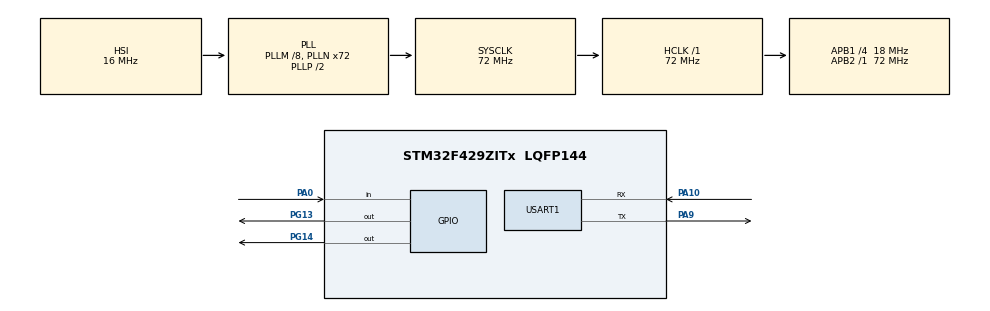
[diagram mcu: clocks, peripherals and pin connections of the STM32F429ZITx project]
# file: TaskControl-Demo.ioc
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FREERTOS.Tasks01=defaultTask,24,128,StartDefaultTask,Default,NULL,Dynamic,NULL,NULL
Mcu.Family=STM32F4
Mcu.Name=STM32F429ZITx
Mcu.Package=LQFP144
NVIC.PriorityGroup=NVIC_PRIORITYGROUP_4
PA0/WKUP.GPIO_PuPd=GPIO_PULLDOWN
PA0/WKUP.Signal=GPIO_Input
PA10.Mode=Asynchronous
PA10.Signal=USART1_RX
PA9.Mode=Asynchronous
PA9.Signal=USART1_TX
PG13.Signal=GPIO_Output
PG14.Signal=GPIO_Output
ProjectManager.HeapSize=0x200
ProjectManager.StackSize=0x400
ProjectManager.TargetToolchain=STM32CubeIDE
RCC.48MHZClocksFreq_Value=48000000
RCC.AHBFreq_Value=72000000
RCC.APB1CLKDivider=RCC_HCLK_DIV4
RCC.APB1Freq_Value=18000000
RCC.APB1TimFreq_Value=36000000
RCC.APB2Freq_Value=72000000
RCC.APB2TimFreq_Value=72000000
RCC.CortexFreq_Value=72000000
RCC.HCLKFreq_Value=72000000
RCC.HSE_VALUE=8000000
RCC.HSI_VALUE=16000000
RCC.LSE_VALUE=32768
RCC.PLLM=8
RCC.PLLN=72
RCC.PLLQ=3
RCC.PLLSAIN=50
RCC.SYSCLKFreq_VALUE=72000000
RCC.SYSCLKSource=RCC_SYSCLKSOURCE_PLLCLK
RCC.VCOOutputFreq_Value=144000000
USART1.VirtualMode=VM_ASYNC
VP_FREERTOS_VS_CMSIS_V2.Mode=CMSIS_V2
board=STM32F429I-DISC1

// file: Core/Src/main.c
/* USER CODE BEGIN Header */
/**
  ******************************************************************************
  * @file           : main.c
  * @brief          : Main program body
  ******************************************************************************
  * @attention
  *
  * Copyright (c) 2025 STMicroelectronics.
  * All rights reserved.
  *
  * This software is licensed under terms that can be found in the LICENSE file
  * in the root directory of this software component.
  * If no LICENSE file comes with this software, it is provided AS-IS.
  *
  ******************************************************************************
  */
/* USER CODE END Header */
#include "main.h"

UART_HandleTypeDef huart1;

/* Definitions for defaultTask */

/* USER CODE BEGIN PV */
/* Task handles */
TaskHandle_t xSuspendableTaskHandle = NULL;
TaskHandle_t xDeletableTaskHandle = NULL;
TaskHandle_t xControlTaskHandle = NULL;

/* Counters */
static volatile uint32_t ulSuspendableTaskCounter = 0;
static volatile uint32_t ulDeletableTaskCounter = 0;
/* USER CODE END PV */

void SystemClock_Config(void);
static void MX_GPIO_Init(void);
static void MX_USART1_UART_Init(void);
void StartDefaultTask(void *argument);

/* USER CODE BEGIN PFP */
/* Function prototypes */
static void SuspendableTask(void *pvParameters);
static void DeletableTask(void *pvParameters);
static void ControlTask(void *pvParameters);
/* USER CODE END PFP */

/* USER CODE BEGIN 0 */
int _write(int file, char *data, int len)
{
    HAL_UART_Transmit(&huart1, (uint8_t*)data, len, HAL_MAX_DELAY);
    return len;
}
/* USER CODE END 0 */

int main(void)
{

  /* MCU Configuration--------------------------------------------------------*/

  /* Reset of all peripherals, Initializes the Flash interface and the Systick. */
  HAL_Init();

  /* Configure the system clock */
  SystemClock_Config();

  /* Initialize all configured peripherals */
  MX_GPIO_Init();
  MX_USART1_UART_Init();

  /* Init scheduler */

  /* Create the thread(s) */
  /* creation of defaultTask */

  /* USER CODE BEGIN RTOS_THREADS */
  /* add threads, ... */
  printf("=== FreeRTOS Task Control Demonstration ===\r\n");
      printf("STM32F429I Discovery Board\r\n");
      printf("FreeRTOS Version: %s\r\n", tskKERNEL_VERSION_NUMBER);

      /* Create tasks */
      xTaskCreate(
          SuspendableTask,        /* Task function */
          "Suspendable",          /* Task name */
          configMINIMAL_STACK_SIZE, /* Stack size */
          NULL,                   /* Parameters to pass to the task */
          tskIDLE_PRIORITY + 1,   /* Task priority */
          &xSuspendableTaskHandle /* Task handle */
      );

      xTaskCreate(
          DeletableTask,          /* Task function */
          "Deletable",            /* Task name */
          configMINIMAL_STACK_SIZE, /* Stack size */
          NULL,                   /* Parameters to pass to the task */
          tskIDLE_PRIORITY + 1,   /* Task priority */
          &xDeletableTaskHandle   /* Task handle */
      );

      xTaskCreate(
          ControlTask,            /* Task function */
          "Control",              /* Task name */
          configMINIMAL_STACK_SIZE * 2, /* Stack size */
          NULL,                   /* Parameters to pass to the task */
          tskIDLE_PRIORITY + 2,   /* Higher priority for control */
          &xControlTaskHandle     /* Task handle */
      );

      printf("All tasks created successfully. Starting scheduler...\r\n");

      /* Start the scheduler */
      vTaskStartScheduler();
  /* USER CODE END RTOS_THREADS */

  /* Start scheduler */

  /* We should never get here as control is now taken by the scheduler */

  /* Infinite loop */
  while (1)
  {

  }
}

void SystemClock_Config(void)
{
  RCC_OscInitTypeDef RCC_OscInitStruct = {0};
  RCC_ClkInitTypeDef RCC_ClkInitStruct = {0};

  /** Configure the main internal regulator output voltage
  */
  __HAL_RCC_PWR_CLK_ENABLE();
  __HAL_PWR_VOLTAGESCALING_CONFIG(PWR_REGULATOR_VOLTAGE_SCALE3);

  /** Initializes the RCC Oscillators according to the specified parameters
  * in the RCC_OscInitTypeDef structure.
  */
  RCC_OscInitStruct.OscillatorType = RCC_OSCILLATORTYPE_HSI;
  RCC_OscInitStruct.HSIState = RCC_HSI_ON;
  RCC_OscInitStruct.HSICalibrationValue = RCC_HSICALIBRATION_DEFAULT;
  RCC_OscInitStruct.PLL.PLLState = RCC_PLL_ON;
  RCC_OscInitStruct.PLL.PLLSource = RCC_PLLSOURCE_HSI;
  RCC_OscInitStruct.PLL.PLLM = 8;
  RCC_OscInitStruct.PLL.PLLN = 72;
  RCC_OscInitStruct.PLL.PLLP = RCC_PLLP_DIV2;
  RCC_OscInitStruct.PLL.PLLQ = 3;
  if (HAL_RCC_OscConfig(&RCC_OscInitStruct) != HAL_OK)
  {
    Error_Handler();
  }

  /** Initializes the CPU, AHB and APB buses clocks
  */
  RCC_ClkInitStruct.ClockType = RCC_CLOCKTYPE_HCLK|RCC_CLOCKTYPE_SYSCLK
                              |RCC_CLOCKTYPE_PCLK1|RCC_CLOCKTYPE_PCLK2;
  RCC_ClkInitStruct.SYSCLKSource = RCC_SYSCLKSOURCE_PLLCLK;
  RCC_ClkInitStruct.AHBCLKDivider = RCC_SYSCLK_DIV1;
  RCC_ClkInitStruct.APB1CLKDivider = RCC_HCLK_DIV4;
  RCC_ClkInitStruct.APB2CLKDivider = RCC_HCLK_DIV1;

  if (HAL_RCC_ClockConfig(&RCC_ClkInitStruct, FLASH_LATENCY_2) != HAL_OK)
  {
    Error_Handler();
  }
}

static void MX_USART1_UART_Init(void)
{

  huart1.Instance = USART1;
  huart1.Init.BaudRate = 115200;
  huart1.Init.WordLength = UART_WORDLENGTH_8B;
  huart1.Init.StopBits = UART_STOPBITS_1;
  huart1.Init.Parity = UART_PARITY_NONE;
  huart1.Init.Mode = UART_MODE_TX_RX;
  huart1.Init.HwFlowCtl = UART_HWCONTROL_NONE;
  huart1.Init.OverSampling = UART_OVERSAMPLING_16;
  if (HAL_UART_Init(&huart1) != HAL_OK)
  {
    Error_Handler();
  }

}

static void MX_GPIO_Init(void)
{
  GPIO_InitTypeDef GPIO_InitStruct = {0};

  /* GPIO Ports Clock Enable */
  __HAL_RCC_GPIOA_CLK_ENABLE();
  __HAL_RCC_GPIOG_CLK_ENABLE();

  /*Configure GPIO pin Output Level */
  HAL_GPIO_WritePin(GPIOG, GPIO_PIN_13|GPIO_PIN_14, GPIO_PIN_RESET);

  /*Configure GPIO pin : PA0 */
  GPIO_InitStruct.Pin = GPIO_PIN_0;
  GPIO_InitStruct.Mode = GPIO_MODE_INPUT;
  GPIO_InitStruct.Pull = GPIO_PULLDOWN;
  HAL_GPIO_Init(GPIOA, &GPIO_InitStruct);

  /*Configure GPIO pins : PG13 PG14 */
  GPIO_InitStruct.Pin = GPIO_PIN_13|GPIO_PIN_14;
  GPIO_InitStruct.Mode = GPIO_MODE_OUTPUT_PP;
  GPIO_InitStruct.Pull = GPIO_NOPULL;
  GPIO_InitStruct.Speed = GPIO_SPEED_FREQ_LOW;
  HAL_GPIO_Init(GPIOG, &GPIO_InitStruct);

}

/* USER CODE BEGIN 4 */

/**
 * @brief Suspendable Task - Toggles LED and can be suspended/resumed
 * @param pvParameters: Task parameters (unused)
 */
static void SuspendableTask(void *pvParameters)
{
    (void)pvParameters; /* Suppress unused parameter warning */

    printf("Suspendable Task: Started\r\n");

    for (;;) {
        ulSuspendableTaskCounter++;
        HAL_GPIO_TogglePin(GPIOG, GPIO_PIN_13); /* Toggle Green LED */
        printf("Suspendable Task: Running (Count: %lu)\r\n", ulSuspendableTaskCounter);
        vTaskDelay(pdMS_TO_TICKS(500));
    }
}

/**
 * @brief Deletable Task - Toggles LED and can be deleted
 * @param pvParameters: Task parameters (unused)
 */
static void DeletableTask(void *pvParameters)
{
    (void)pvParameters; /* Suppress unused parameter warning */

    printf("Deletable Task: Started\r\n");

    for (;;) {
        ulDeletableTaskCounter++;
        HAL_GPIO_TogglePin(GPIOG, GPIO_PIN_14);; /* Toggle Red LED */
        printf("Deletable Task: Running (Count: %lu)\r\n", ulDeletableTaskCounter);
        vTaskDelay(pdMS_TO_TICKS(700));
    }
}

/**
 * @brief Control Task - Controls the state of other tasks based on button presses
 * @param pvParameters: Task parameters (unused)
 */
static void ControlTask(void *pvParameters)
{
    (void)pvParameters; /* Suppress unused parameter warning */
    static uint8_t control_state = 0;

    printf("Control Task: Started. Press button to control tasks.\r\n");

    for (;;) {
        if (HAL_GPIO_ReadPin(GPIOA, GPIO_PIN_0) == GPIO_PIN_SET) {
            /* Debounce */
            vTaskDelay(pdMS_TO_TICKS(50));
            while (HAL_GPIO_ReadPin(GPIOA, GPIO_PIN_0) == GPIO_PIN_SET) {
                vTaskDelay(pdMS_TO_TICKS(10));
            }

            control_state++;

            switch (control_state) {
                case 1:
                    if (xSuspendableTaskHandle != NULL) {
                        vTaskSuspend(xSuspendableTaskHandle);
                        printf("Control Task: Suspendable Task SUSPENDED.\r\n");
                    }
                    break;
                case 2:
                    if (xSuspendableTaskHandle != NULL) {
                        vTaskResume(xSuspendableTaskHandle);
                        printf("Control Task: Suspendable Task RESUMED.\r\n");
                    }
                    break;
                case 3:
                    if (xDeletableTaskHandle != NULL) {
                        vTaskDelete(xDeletableTaskHandle);
                        xDeletableTaskHandle = NULL; /* Clear handle after deletion */
                        printf("Control Task: Deletable Task DELETED.\r\n");
                    }
                    break;
                default:
                    printf("Control Task: Resetting demo. Restarting...\r\n");
                    HAL_NVIC_SystemReset(); /* Reset system to restart demo */
                    break;
            }
        }
        vTaskDelay(pdMS_TO_TICKS(100));
    }
}
/* USER CODE END 4 */

void StartDefaultTask(void *argument)
{
  for(;;)
  {
    osDelay(1);
  }
}

void Error_Handler(void)
{
  __disable_irq();
  while (1)
  {
  }
}
